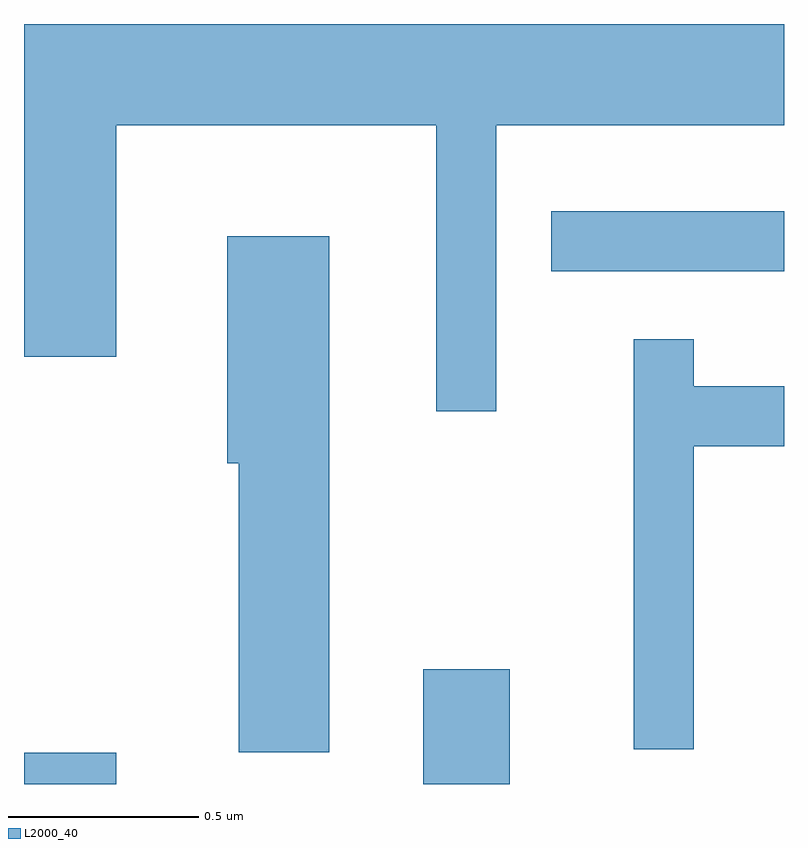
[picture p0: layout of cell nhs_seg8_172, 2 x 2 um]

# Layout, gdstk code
import gdstk
lib = gdstk.Library(unit=1e-6, precision=1e-09)
def R(c, l, rs):  # rectangles x0, y0, x1, y1
    for r in rs: c.add(gdstk.rectangle(r[:2], r[2:], *l))
def P(c, l, *ps):  # polygons
    for p in ps: c.add(gdstk.Polygon(p, *l))
L2000_40 = (2000, 40)

nhs_seg8_172 = lib.new_cell('nhs_seg8_172')
R(nhs_seg8_172, L2000_40, [(186.611,1841.342,186.854,1841.424), (187.661,1841.342,187.889,1841.644), (187.998,1842.691,188.611,1842.849)])
P(nhs_seg8_172, L2000_40, [(187.854,1843.076),(188.611,1843.076),(188.611,1843.342),(186.611,1843.342),(186.611,1842.466),(186.854,1842.466),(186.854,1843.076),(187.696,1843.076),(187.696,1842.323),(187.854,1842.323)],
  [(187.414,1842.784),(187.146,1842.784),(187.146,1842.186),(187.176,1842.186),(187.176,1841.426),(187.414,1841.426)],
  [(188.374,1842.231),(188.611,1842.231),(188.611,1842.389),(188.374,1842.389),(188.374,1842.513),(188.216,1842.513),(188.216,1841.433),(188.374,1841.433)])

lib.write_gds('nhs_seg8_172.gds')
